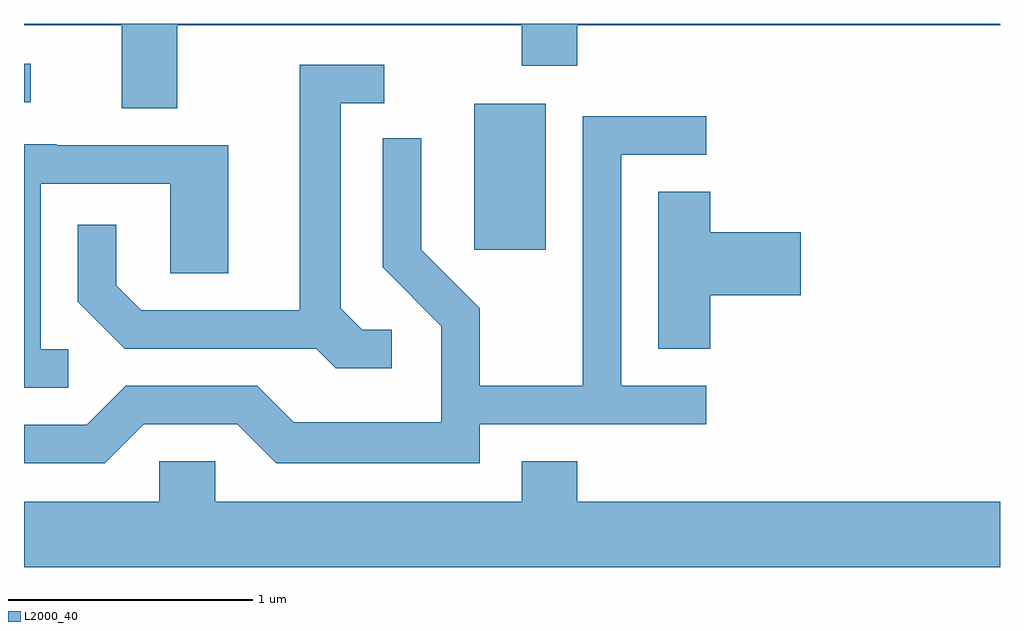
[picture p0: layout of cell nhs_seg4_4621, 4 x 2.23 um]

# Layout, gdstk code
import gdstk
lib = gdstk.Library(unit=1e-6, precision=1e-09)
def R(c, l, rs):  # rectangles x0, y0, x1, y1
    for r in rs: c.add(gdstk.rectangle(r[:2], r[2:], *l))
def P(c, l, *ps):  # polygons
    for p in ps: c.add(gdstk.Polygon(p, *l))
L2000_40 = (2000, 40)

nhs_seg4_4621 = lib.new_cell('nhs_seg4_4621')
R(nhs_seg4_4621, L2000_40, [(321.456,1387.056,321.749,1387.654), (319.611,1387.661,319.638,1387.819)])
P(nhs_seg4_4621, L2000_40, [(320.239,1387.976),(321.651,1387.976),(321.651,1387.811),(321.879,1387.811),(321.879,1387.976),(323.611,1387.976),(323.611,1387.982),(319.611,1387.982),(319.611,1387.976),(320.011,1387.976),(320.011,1387.636),(320.239,1387.636)],
  [(321.118,1386.729),(320.997,1386.729),(320.909,1386.817),(320.909,1387.656),(321.088,1387.656),(321.088,1387.814),(320.741,1387.814),(320.741,1386.809),(320.092,1386.809),(319.989,1386.912),(319.989,1387.158),(319.831,1387.158),(319.831,1386.844),(320.024,1386.651),(320.809,1386.651),(320.889,1386.571),(321.118,1386.571)],
  [(320.102,1386.341),(320.484,1386.341),(320.644,1386.181),(321.479,1386.181),(321.479,1386.341),(322.408,1386.341),(322.408,1386.499),(322.059,1386.499),(322.059,1387.446),(322.408,1387.446),(322.408,1387.604),(321.901,1387.604),(321.901,1386.499),(321.479,1386.499),(321.479,1386.817),(321.239,1387.057),(321.239,1387.513),(321.081,1387.513),(321.081,1386.984),(321.321,1386.744),(321.321,1386.349),(320.717,1386.349),(320.567,1386.499),(320.029,1386.499),(319.869,1386.339),(319.611,1386.339),(319.611,1386.181),(319.942,1386.181)],
  [(319.793,1386.649),(319.679,1386.649),(319.679,1387.326),(320.211,1387.326),(320.211,1386.961),(320.449,1386.961),(320.449,1387.484),(319.745,1387.484),(319.745,1387.489),(319.611,1387.489),(319.611,1386.491),(319.793,1386.491)],
  [(322.424,1386.871),(322.794,1386.871),(322.794,1387.129),(322.424,1387.129),(322.424,1387.294),(322.211,1387.294),(322.211,1386.651),(322.424,1386.651)],
  [(323.611,1386.024),(321.879,1386.024),(321.879,1386.189),(321.651,1386.189),(321.651,1386.024),(320.394,1386.024),(320.394,1386.189),(320.166,1386.189),(320.166,1386.024),(319.611,1386.024),(319.611,1385.756),(323.611,1385.756)])

lib.write_gds('nhs_seg4_4621.gds')
